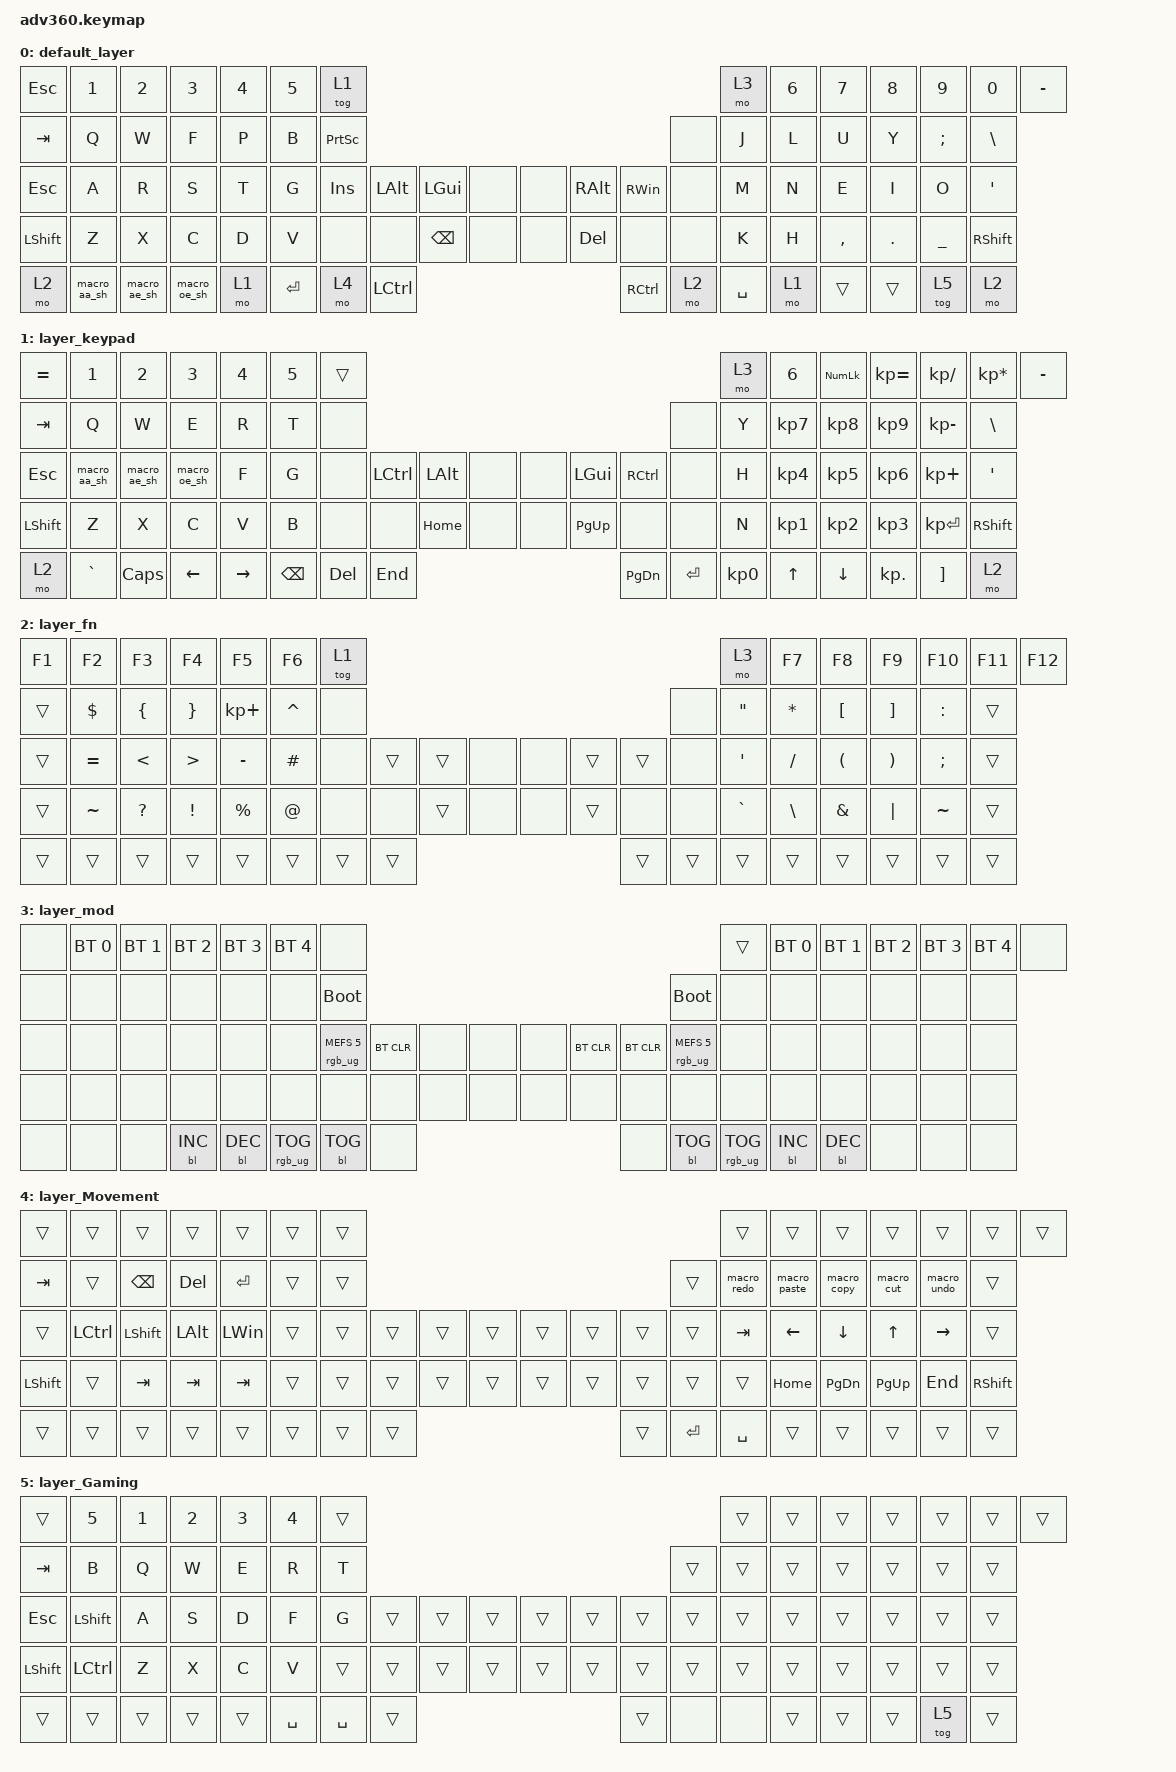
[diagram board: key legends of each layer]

/*
 * Copyright (c) 2020 The ZMK Contributors
 *
 * SPDX-License-Identifier: MIT
 */


/* THIS FILE WAS GENERATED!
 *
 * This file was generated automatically. You may or may not want to
 * edit it directly.
 */

#include <behaviors.dtsi>
#include <dt-bindings/zmk/keys.h>
#include <dt-bindings/zmk/bt.h>
#include <dt-bindings/zmk/rgb.h>
#include <dt-bindings/zmk/backlight.h>

/ {
  behaviors {
    #include "macros.dtsi"

    hm: homerow_mods {
        compatible = "zmk,behavior-hold-tap";
        label = "HOMEROW_MODS";
        #binding-cells = <2>;
        tapping-term-ms = <200>;
        quick_tap_ms = <175>;
        flavor = "tap-preferred";
        bindings = <&kp>, <&kp>;
    };
  };

    keymap {
        compatible = "zmk,keymap";


        default_layer {
            bindings = <
   &kp ESC        &kp N1        &kp N2        &kp N3  &kp N4  &kp N5               &tog 1                                                                                 &mo 3  &kp N6  &kp N7     &kp N8   &kp N9          &kp N0  &kp MINUS
   &kp TAB         &kp Q         &kp W         &kp F   &kp P   &kp B            &kp PSCRN                                                                                 &none   &kp J   &kp L      &kp U    &kp Y        &kp SEMI   &kp BSLH
   &kp ESC         &kp A         &kp R         &kp S   &kp T   &kp G              &kp INS  &kp LEFT_ALT       &kp LGUI   &none   &none  &kp RIGHT_ALT  &kp RIGHT_WIN      &none   &kp M   &kp N      &kp E    &kp I           &kp O    &kp SQT
 &kp LSHFT         &kp Z         &kp X         &kp C   &kp D   &kp V                &none         &none  &kp BACKSPACE   &none   &none     &kp DELETE          &none      &none   &kp K   &kp H  &kp COMMA  &kp DOT  &kp UNDERSCORE  &kp RSHFT
     &mo 2  &macro_aa_sh  &macro_ae_sh  &macro_oe_sh   &mo 1                    &kp ENTER         &mo 4      &kp LCTRL                      &kp RCTRL          &mo 2  &kp SPACE           &mo 1     &trans   &trans          &tog 5      &mo 2
            >;
        };

        layer_keypad {
            bindings = <
 &kp EQUAL        &kp N1        &kp N2        &kp N3     &kp N4  &kp N5              &trans                                                                 &mo 3  &kp N6  &kp KP_NUM  &kp KP_EQUAL  &kp KP_DIVIDE  &kp KP_MULTIPLY  &kp MINUS
   &kp TAB         &kp Q         &kp W         &kp E      &kp R   &kp T               &none                                                                 &none   &kp Y   &kp KP_N7     &kp KP_N8      &kp KP_N9     &kp KP_MINUS   &kp BSLH
   &kp ESC  &macro_aa_sh  &macro_ae_sh  &macro_oe_sh      &kp F   &kp G               &none  &kp LCTRL  &kp LALT   &none   &none   &kp LGUI  &kp RCTRL      &none   &kp H   &kp KP_N4     &kp KP_N5      &kp KP_N6      &kp KP_PLUS    &kp SQT
 &kp LSHFT         &kp Z         &kp X         &kp C      &kp V   &kp B               &none      &none  &kp HOME   &none   &none  &kp PG_UP      &none      &none   &kp N   &kp KP_N1     &kp KP_N2      &kp KP_N3     &kp KP_ENTER  &kp RSHFT
     &mo 2     &kp GRAVE      &kp CAPS      &kp LEFT  &kp RIGHT                    &kp BSPC    &kp DEL   &kp END                  &kp PG_DN  &kp ENTER  &kp KP_N0              &kp UP      &kp DOWN     &kp KP_DOT         &kp RBKT      &mo 2
            >;
        };

        layer_fn {
            bindings = <
 &kp F1      &kp F2          &kp F3            &kp F4       &kp F5       &kp F6            &tog 1                                                   &mo 3             &kp F7         &kp F8                &kp F9                &kp F10        &kp F11  &kp F12
 &trans  &kp DOLLAR  &kp LEFT_BRACE   &kp RIGHT_BRACE  &kp KP_PLUS    &kp CARET             &none                                                   &none  &kp DOUBLE_QUOTES       &kp STAR      &kp LEFT_BRACKET      &kp RIGHT_BRACKET      &kp COLON   &trans
 &trans   &kp EQUAL          &kp LT  &kp GREATER_THAN    &kp MINUS     &kp HASH             &none  &trans  &trans   &none   &none  &trans  &trans   &none   &kp SINGLE_QUOTE      &kp SLASH  &kp LEFT_PARENTHESIS  &kp RIGHT_PARENTHESIS  &kp SEMICOLON   &trans
 &trans   &kp TILDE    &kp QUESTION          &kp EXCL    &kp PRCNT  &kp AT_SIGN             &none   &none  &trans   &none   &none  &trans   &none   &none          &kp GRAVE  &kp BACKSLASH              &kp AMPS               &kp PIPE      &kp TILDE   &trans
 &trans      &trans          &trans            &trans       &trans                         &trans  &trans  &trans                  &trans  &trans  &trans                            &trans                &trans                 &trans         &trans   &trans
            >;
        };

        layer_mod {
            bindings = <
  &none  &bt BT_SEL 0  &bt BT_SEL 1  &bt BT_SEL 2  &bt BT_SEL 3  &bt BT_SEL 4                             &none                                                                              &trans  &bt BT_SEL 0  &bt BT_SEL 1  &bt BT_SEL 2  &bt BT_SEL 3  &bt BT_SEL 4   &none
  &none         &none         &none         &none         &none         &none                       &bootloader                                                                         &bootloader         &none         &none         &none         &none         &none   &none
  &none         &none         &none         &none         &none         &none            &rgb_ug RGB_MEFS_CMD 5  &bt BT_CLR   &none   &none   &none  &bt BT_CLR  &bt BT_CLR  &rgb_ug RGB_MEFS_CMD 5         &none         &none         &none         &none         &none   &none
  &none         &none         &none         &none         &none         &none                             &none       &none   &none   &none   &none       &none       &none                   &none         &none         &none         &none         &none         &none   &none
  &none         &none         &none    &bl BL_INC    &bl BL_DEC                                 &rgb_ug RGB_TOG  &bl BL_TOG   &none                       &none  &bl BL_TOG         &rgb_ug RGB_TOG                  &bl BL_INC    &bl BL_DEC         &none         &none   &none
            >;
        };

        layer_Movement {
            bindings = <
         &trans     &trans         &trans        &trans        &trans  &trans            &trans                                                        &trans       &trans        &trans         &trans      &trans       &trans           &trans
        &kp TAB     &trans  &kp BACKSPACE    &kp DELETE     &kp ENTER  &trans            &trans                                                        &trans  &macro_redo  &macro_paste    &macro_copy  &macro_cut  &macro_undo           &trans
         &trans  &kp LCTRL     &kp LSHIFT  &kp LEFT_ALT  &kp LEFT_WIN  &trans            &trans  &trans  &trans  &trans  &trans  &trans     &trans     &trans      &kp TAB      &kp LEFT       &kp DOWN      &kp UP    &kp RIGHT           &trans
 &kp LEFT_SHIFT     &trans        &kp TAB       &kp TAB       &kp TAB  &trans            &trans  &trans  &trans  &trans  &trans  &trans     &trans     &trans       &trans      &kp HOME  &kp PAGE_DOWN   &kp PG_UP      &kp END  &kp RIGHT_SHIFT
         &trans     &trans         &trans        &trans        &trans                    &trans  &trans  &trans                  &trans  &kp ENTER  &kp SPACE                     &trans         &trans      &trans       &trans           &trans
            >;
        };

        layer_Gaming {
            bindings = <
         &trans          &kp N5  &kp N1  &kp N2  &kp N3  &kp N4               &trans                                                     &trans  &trans  &trans  &trans  &trans  &trans  &trans
        &kp TAB           &kp B   &kp Q   &kp W   &kp E   &kp R                &kp T                                                     &trans  &trans  &trans  &trans  &trans  &trans  &trans
        &kp ESC  &kp LEFT_SHIFT   &kp A   &kp S   &kp D   &kp F                &kp G     &trans  &trans  &trans  &trans  &trans  &trans  &trans  &trans  &trans  &trans  &trans  &trans  &trans
 &kp LEFT_SHIFT       &kp LCTRL   &kp Z   &kp X   &kp C   &kp V               &trans     &trans  &trans  &trans  &trans  &trans  &trans  &trans  &trans  &trans  &trans  &trans  &trans  &trans
         &trans          &trans  &trans  &trans  &trans                    &kp SPACE  &kp SPACE  &trans                  &trans   &none   &none          &trans  &trans  &trans  &tog 5  &trans
            >;
        };

    };
};
